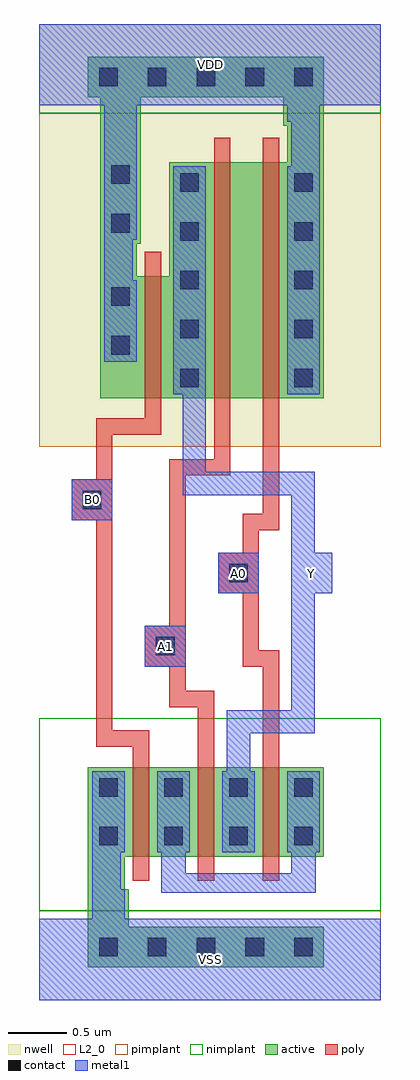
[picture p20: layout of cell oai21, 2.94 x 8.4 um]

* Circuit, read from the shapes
.subckt oai21 A0 A1 B0 VDD VSS Y
M1 n1 B0 VSS VSS nfet w=0.77u l=0.14u
M2 Y A1 n1 VSS nfet w=0.77u l=0.14u
M3 n1 A0 Y VSS nfet w=0.77u l=0.14u
M4 Y B0 VDD VDD pfet w=1.05u l=0.14u
M5 n2 A1 Y VDD pfet w=2.03u l=0.14u
M6 VDD A0 n2 VDD pfet w=2.03u l=0.14u
.ends

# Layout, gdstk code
from math import pi, radians
import gdstk
lib = gdstk.Library(unit=1e-6, precision=1e-09)
def R(c, l, rs):  # rectangles x0, y0, x1, y1
    for r in rs: c.add(gdstk.rectangle(r[:2], r[2:], *l))
def A(c, l, x, y, w, h, nx, ny, dx, dy):  # array of equal rectangles
    R(c, l, [(x+i*dx, y+j*dy, x+i*dx+w, y+j*dy+h) for i in range(nx) for j in range(ny)])
def P(c, l, *ps):  # polygons
    for p in ps: c.add(gdstk.Polygon(p, *l))
L2_0 = (2, 0)
nwell = (3, 0)
active = (6, 0)
poly = (17, 0)
pimplant = (25, 0)
nimplant = (26, 0)
contact = (30, 0)
metal1 = (31, 0)

adk_poly_m1 = lib.new_cell('ADK_poly_m1')
R(adk_poly_m1, poly, [(-0.175,-0.175,0.175,0.175)])
R(adk_poly_m1, contact, [(-0.08,-0.08,0.08,0.08)])
R(adk_poly_m1, metal1, [(-0.175,-0.175,0.175,0.175)])

oai21 = lib.new_cell('oai21')
R(oai21, L2_0, [(0,0,2.94,2.425)])
R(oai21, nwell, [(0,4.76,2.94,8.4)])
P(oai21, nwell, [(0.105,4.76),(2.94,4.76),(2.94,7.63),(0.7,7.63),(0.7,6.65),(0.105,6.65)])
R(oai21, active, [(0.42,0.28,2.45,0.63), (0.42,0.63,0.77,0.955), (0.42,0.955,0.735,1.235), (0.42,1.235,0.805,2.005), (0.42,1.235,2.45,2.005), (2.065,1.235,2.45,2.005), (0.525,5.18,0.91,6.23), (2.065,5.18,2.45,7.21), (0.525,6.23,0.84,6.51), (0.525,6.51,0.875,7.77), (2.135,7.21,2.45,7.525), (2.1,7.525,2.45,7.77), (0.42,7.77,2.45,8.12)])
P(oai21, active, [(2.45,5.18),(2.45,7.21),(1.12,7.21),(1.12,6.23),(0.525,6.23),(0.525,5.18)])
A(oai21, poly, 0.805, 1.025, 0.14, 0.21, 3, 2, 0.56, 0.98)
A(oai21, poly, 0.805, 1.235, 0.14, 0.77, 3, 1, 0.56, 0)
R(oai21, poly, [(0.91,4.97,1.05,5.18), (1.505,4.97,1.645,5.18), (1.925,4.97,2.065,5.18), (0.91,5.18,1.05,6.23), (1.505,5.18,1.645,7.21), (1.925,5.18,2.065,7.21), (0.91,6.23,1.05,6.44), (1.505,7.21,1.645,7.42), (1.925,7.21,2.065,7.42)])
P(oai21, poly, [(0.49,4.48),(0.63,4.48),(0.63,4.865),(1.05,4.865),(1.05,5.005),(0.49,5.005)],
  [(0.49,2.18),(0.945,2.18),(0.945,2.32),(0.63,2.32),(0.63,4.13),(0.49,4.13)],
  [(1.12,2.52),(1.365,2.52),(1.365,2.18),(1.505,2.18),(1.505,2.66),(1.26,2.66),(1.26,2.87),(1.12,2.87)],
  [(1.12,3.22),(1.26,3.22),(1.26,4.515),(1.645,4.515),(1.645,5.005),(1.505,5.005),(1.505,4.655),(1.12,4.655)],
  [(1.75,2.87),(1.925,2.87),(1.925,2.075),(2.065,2.075),(2.065,3.01),(1.89,3.01),(1.89,4.045),(2.065,4.045),(2.065,5.11),(1.925,5.11),(1.925,4.185),(1.75,4.185)])
R(oai21, pimplant, [(0,0,2.94,0.77), (0,4.76,2.94,7.63)])
R(oai21, nimplant, [(0,0.77,2.94,2.425), (0,7.63,2.94,8.4)])
A(oai21, contact, 0.515, 0.375, 0.16, 0.16, 5, 2, 0.42, 7.49)
A(oai21, contact, 0.515, 1.33, 0.16, 0.16, 4, 2, 0.56, 0.42)
A(oai21, contact, 1.215, 5.275, 0.16, 0.16, 1, 5, 0, 0.42)
A(oai21, contact, 2.195, 5.275, 0.16, 0.16, 1, 5, 0, 0.42)
R(oai21, contact, [(0.62,5.555,0.78,5.715), (0.62,5.975,0.78,6.135), (0.62,6.605,0.78,6.765), (0.62,7.025,0.78,7.185)])
A(oai21, metal1, 0.455, 1.27, 0.28, 0.7, 4, 1, 0.56, 0)
R(oai21, metal1, [(0,0,2.94,0.7), (0.455,0.7,0.735,0.955), (0.455,0.955,0.7,1.27), (0.91,2.87,1.26,3.22), (1.54,3.5,1.89,3.85), (2.17,3.5,2.52,3.85), (2.17,3.5,2.52,3.85), (0.28,4.13,0.63,4.48), (1.155,5.215,1.435,7.175), (2.135,5.215,2.415,7.175), (0.56,5.495,0.84,6.195), (0.56,6.195,0.805,6.545), (0.56,6.545,0.84,7.7), (2.17,7.175,2.415,7.56), (2.135,7.56,2.415,7.7), (0,7.7,2.94,8.4)])
P(oai21, metal1, [(1.235,4.345),(2.17,4.345),(2.17,2.495),(1.615,2.495),(1.615,1.77),(1.815,1.77),(1.815,2.295),(2.37,2.295),(2.37,4.545),(1.435,4.545),(1.435,5.415),(1.235,5.415)],
  [(1.05,0.925),(2.38,0.925),(2.38,1.27),(2.17,1.27),(2.17,1.09),(1.26,1.09),(1.26,1.27),(1.05,1.27)])
oai21.add(gdstk.Reference(adk_poly_m1, (0.455,4.305), rotation=pi))
oai21.add(gdstk.Reference(adk_poly_m1, (1.085,3.045), rotation=pi))
oai21.add(gdstk.Reference(adk_poly_m1, (1.715,3.675), x_reflection=True))
oai21.add(gdstk.Label('VSS', (1.47,0.35), layer=131, texttype=0))
oai21.add(gdstk.Label('VDD', (1.47,8.05), layer=131, texttype=0))
oai21.add(gdstk.Label('Y', (2.345,3.675), layer=131, texttype=0))
oai21.add(gdstk.Label('A0', (1.715,3.675), layer=131, texttype=0))
oai21.add(gdstk.Label('A1', (1.085,3.045), layer=131, texttype=0))
oai21.add(gdstk.Label('B0', (0.455,4.305), layer=131, texttype=0))

lib.write_gds('oai21.gds')
